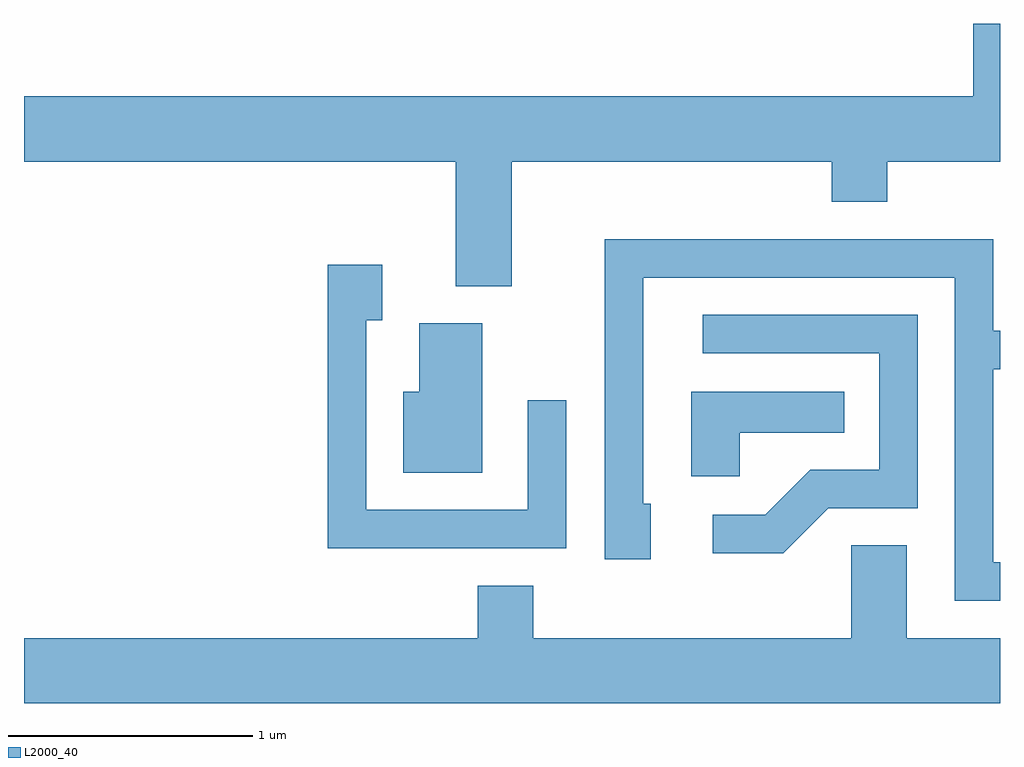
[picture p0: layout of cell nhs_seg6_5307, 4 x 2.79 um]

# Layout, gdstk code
import gdstk
lib = gdstk.Library(unit=1e-6, precision=1e-09)
def P(c, l, *ps):  # polygons
    for p in ps: c.add(gdstk.Polygon(p, *l))
L2000_40 = (2000, 40)

nhs_seg6_5307 = lib.new_cell('nhs_seg6_5307')
P(nhs_seg6_5307, L2000_40, [(349.609,1545.596),(350.921,1545.596),(350.921,1545.431),(351.149,1545.431),(351.149,1545.596),(351.611,1545.596),(351.611,1546.162),(351.501,1546.162),(351.501,1545.864),(347.611,1545.864),(347.611,1545.596),(349.381,1545.596),(349.381,1545.086),(349.609,1545.086)],
  [(351.611,1543.954),(351.584,1543.954),(351.584,1544.746),(351.611,1544.746),(351.611,1544.904),(351.584,1544.904),(351.584,1545.279),(349.991,1545.279),(349.991,1543.966),(350.179,1543.966),(350.179,1544.194),(350.149,1544.194),(350.149,1545.121),(351.426,1545.121),(351.426,1543.796),(351.611,1543.796)],
  [(349.834,1544.618),(349.676,1544.618),(349.676,1544.169),(349.014,1544.169),(349.014,1544.946),(349.079,1544.946),(349.079,1545.174),(348.856,1545.174),(348.856,1544.011),(349.834,1544.011)],
  [(350.907,1544.176),(351.274,1544.176),(351.274,1544.969),(350.393,1544.969),(350.393,1544.811),(351.116,1544.811),(351.116,1544.334),(350.834,1544.334),(350.649,1544.149),(350.433,1544.149),(350.433,1543.991),(350.722,1543.991)],
  [(349.489,1544.934),(349.231,1544.934),(349.231,1544.654),(349.166,1544.654),(349.166,1544.321),(349.489,1544.321)],
  [(350.544,1544.486),(350.973,1544.486),(350.973,1544.654),(350.346,1544.654),(350.346,1544.306),(350.544,1544.306)],
  [(351.611,1543.644),(351.229,1543.644),(351.229,1544.024),(351.001,1544.024),(351.001,1543.644),(349.699,1543.644),(349.699,1543.859),(349.471,1543.859),(349.471,1543.644),(347.611,1543.644),(347.611,1543.376),(351.611,1543.376)])

lib.write_gds('nhs_seg6_5307.gds')
